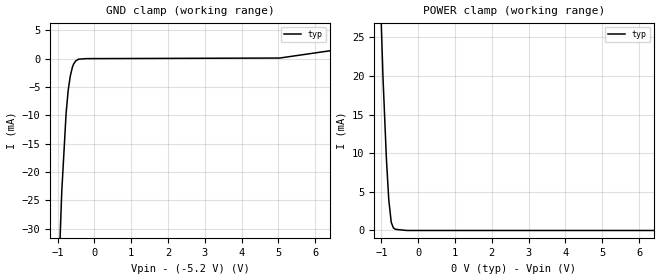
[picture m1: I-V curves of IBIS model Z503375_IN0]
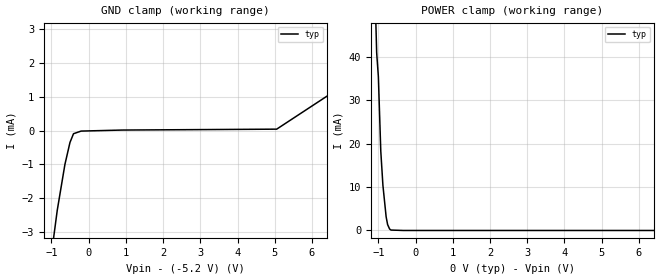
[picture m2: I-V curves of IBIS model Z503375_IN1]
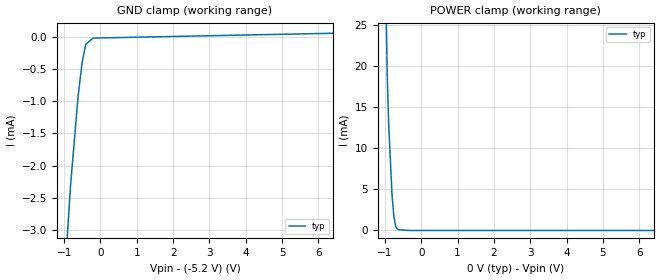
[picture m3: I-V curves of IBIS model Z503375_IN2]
| YOU ARE ONLY AUTHORIZED TO USE THIS SOFTWARE
| ACCORDING TO LICENSOR'S LICENSE RESTRICTIONS.
[IBIS Ver] 3.1
[File Name] mc100e445fn.ibs
[File Rev] 2.0
[Source] Measured and created by ICX Technology
[Date] Friday 7/14/00 9:07:47 AM
[Copyright]
| (C) COPYRIGHT 1993-2000
| MENTOR GRAPHICS CORPORATION
| ICX STANDARD LIBRARY, ICX PROJECT MODELING,
| ICX CUSTOM MODELING, ICX VENDOR MODEL
| ALL RIGHTS RESERVED.
| THE FOLLOWING ARE TRADEMARKS OR SERVICE MARKS OF
| MENTOR GRAPHICS CORPORATION:ICX (R), ICX STANDARD
| LIBRARY(R), ICX PROJECT MODELING(R), ICX CUSTOM
| MODELING(R), qualityIBIS(TM), MODELVIEWER(TM),
| AND MODELEDITOR(TM)
| ALL COPIES OF SOFTWARE, INCLUDING BUT NOT LIMITED TO
| ANY MODIFICATIONS, ENHANCEMENTS OR DERIVATIVE WORKS,
| MUST CONTAIN ALL MENTOR GRAPHICS CORPORATION'S
| NOTICES AND LEGENDS, INCLUDING THOSE EMBEDDED IN
| SOFTWARE AND THOSE AFFIXED TO SOFTWARE MEDIUM
| AND CONTAINER, AS RECEIVED FROM MENTOR GRAPHICS
| CORPORATION.
|  ZAP Model Builder 2.7
[Component] MC100E445FN
[Manufacturer] OnSemiconductor
[Package]
| variable   typ   min   max
R_pkg  .083ohms NA NA
L_pkg  4.299nH NA NA
C_pkg  1.045pF NA NA
[Pin] signal_name  model_name  R_pin  L_pin C_pin
1 VEE POWER .08 3.94n .925p
2 CLK Z503375_IN0 .082 4.14n .995p
3 _CLK Z503375_IN0 .084 4.354n 1.065p
4 VBB POWER .086 4.583n 1.135p
5 _CL/8 Z503375_OUT0 .086 4.583n 1.135p
6 CL/8 Z503375_OUT0 .084 4.354n 1.065p
7 VCCO POWER .082 4.14n .995p
8 CL/4 Z503375_OUT1 .08 3.94n .925p
9 _CL/4 Z503375_OUT1 .082 4.14n .995p
10 VCCO POWER .084 4.354n 1.065p
11 Q3 Z503375_OUT2 .086 4.583n 1.135p
12 Q2 Z503375_OUT2 .086 4.583n 1.135p
13 VCCO POWER .084 4.354n 1.065p
14 Q1 Z503375_OUT2 .082 4.14n .995p
15 Q0 Z503375_OUT2 .08 3.94n .925p
16 VCC POWER .082 4.14n .995p
17 _SOUT Z503375_OUT3 .084 4.354n 1.065p
18 SOUT Z503375_OUT3 .086 4.583n 1.135p
19 VCCO POWER .086 4.583n 1.135p
20 NC NC .084 4.354n 1.065p
21 MODE Z503375_IN1 .082 4.14n .995p
22 RESET Z503375_IN2 .08 3.94n .925p
23 SYNC Z503375_IN3 .082 4.14n .995p
24 _SINA Z503375_IN4 .084 4.354n 1.065p
25 SINA Z503375_IN4 .086 4.583n 1.135p
26 SINB Z503375_IN4 .086 4.583n 1.135p
27 _SINB Z503375_IN4 .084 4.354n 1.065p
28 SEL Z503375_IN5 .082 4.14n .995p
| Models and submodels in the file (10): Z503375_IN0 (Input_ECL), Z503375_IN1 (Input_ECL), Z503375_IN2 (Input_ECL), Z503375_IN3 (Input_ECL), Z503375_IN4 (Input_ECL), Z503375_IN5 (Input_ECL), Z503375_OUT0 (Output_ECL), Z503375_OUT1 (Output_ECL), Z503375_OUT2 (Output_ECL), Z503375_OUT3 (Output_ECL)
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| (C) COPYRIGHT 1993-2000
| MENTOR GRAPHICS CORPORATION
| ICX STANDARD LIBRARY, ICX PROJECT MODELING,
| ICX CUSTOM MODELING, ICX VENDOR MODEL
| ALL RIGHTS RESERVED.
| THE FOLLOWING ARE TRADEMARKS OR SERVICE MARKS OF
| MENTOR GRAPHICS CORPORATION:ICX (R), ICX STANDARD
| LIBRARY(R), ICX PROJECT MODELING(R), ICX CUSTOM
| MODELING(R), qualityIBIS(TM), MODELVIEWER(TM),
| AND MODELEDITOR(TM)
| ALL COPIES OF SOFTWARE, INCLUDING BUT NOT LIMITED TO
| ANY MODIFICATIONS, ENHANCEMENTS OR DERIVATIVE WORKS,
| MUST CONTAIN ALL MENTOR GRAPHICS CORPORATION'S
| NOTICES AND LEGENDS, INCLUDING THOSE EMBEDDED IN
| SOFTWARE AND THOSE AFFIXED TO SOFTWARE MEDIUM
| AND CONTAINER, AS RECEIVED FROM MENTOR GRAPHICS
| CORPORATION.
| Model Application Version 1.89 2/18/99.
[Model] Z503375_IN0
Model_type Input_ECL
Vinl = -1.475V
Vinh = -1.165V
C_comp 4.000pF NA NA
| variable typ   min   max
[Voltage Range] -5.200V NA NA
[GND Clamp Reference] -5.200V NA NA
[POWER Clamp Reference] 0.000V NA NA
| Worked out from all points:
|   GND clamp passes 1 mA (typ) near -0.57 V on its own axis
|   POWER clamp passes 1 mA (typ) near -0.73 V on its own axis
[GND Clamp]
-5.2V     -799.6mA   NA         NA
-888mV    -23.46mA   NA         NA
-770mV    -9.66mA    NA         NA
-713mV    -5.587mA   NA         NA
-656mV    -3.084mA   NA         NA
-596mV    -1.458mA   NA         NA
-561mV    -912uA     NA         NA
-503mV    -392uA     NA         NA
-426mV    -112uA     NA         NA
-213mV    -18.48uA   NA         NA
5.031V    81.29uA    NA         NA
10.4V     5.112mA    NA         NA
[POWER Clamp]
-5.2V     1.315A     NA         NA
-1.17V    61.74mA    NA         NA
-1.044V   32.91mA    NA         NA
-957mV    19.9mA     NA         NA
-864.3mV  9.33mA     NA         NA
-799.1mV  3.955mA    NA         NA
-731.9mV  1.05mA     NA         NA
-674.6mV  338uA      NA         NA
-620.2mV  151.4uA    NA         NA
-310.1mV  0A         NA         NA
10.4V     0A         NA         NA
| (C) COPYRIGHT 1993-2000
| MENTOR GRAPHICS CORPORATION
| ICX STANDARD LIBRARY, ICX PROJECT MODELING,
| ICX CUSTOM MODELING, ICX VENDOR MODEL
| ALL RIGHTS RESERVED.
| THE FOLLOWING ARE TRADEMARKS OR SERVICE MARKS OF
| MENTOR GRAPHICS CORPORATION:ICX (R), ICX STANDARD
| LIBRARY(R), ICX PROJECT MODELING(R), ICX CUSTOM
| MODELING(R), qualityIBIS(TM), MODELVIEWER(TM),
| AND MODELEDITOR(TM)
| ALL COPIES OF SOFTWARE, INCLUDING BUT NOT LIMITED TO
| ANY MODIFICATIONS, ENHANCEMENTS OR DERIVATIVE WORKS,
| MUST CONTAIN ALL MENTOR GRAPHICS CORPORATION'S
| NOTICES AND LEGENDS, INCLUDING THOSE EMBEDDED IN
| SOFTWARE AND THOSE AFFIXED TO SOFTWARE MEDIUM
| AND CONTAINER, AS RECEIVED FROM MENTOR GRAPHICS
| CORPORATION.
| Model Application Version 1.89 2/18/99.
[Model] Z503375_IN1
Model_type Input_ECL
Vinl = -1.475V
Vinh = -1.165V
C_comp 4.000pF NA NA
| variable typ   min   max
[Voltage Range] -5.200V NA NA
[GND Clamp Reference] -5.200V NA NA
[POWER Clamp Reference] 0.000V NA NA
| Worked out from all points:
|   GND clamp passes 1 mA (typ) near -0.64 V on its own axis
|   POWER clamp passes 1 mA (typ) near -0.73 V on its own axis
[GND Clamp]
-5.2V     -90.6mA    NA         NA
-1.063V   -4.163mA   NA         NA
-845mV    -2.354mA   NA         NA
-639mV    -1.001mA   NA         NA
-503mV    -352.5uA   NA         NA
-408mV    -94.15uA   NA         NA
-204mV    -16.45uA   NA         NA
904mV     14.01uA    NA         NA
5.051V    40.37uA    NA         NA
10.4V     3.891mA    NA         NA
[POWER Clamp]
-5.2V     2.302A     NA         NA
-1.093V   56.03mA    NA         NA
-1.045V   40.95mA    NA         NA
-999.3mV  35.44mA    NA         NA
-934.4mV  18.27mA    NA         NA
-877.1mV  10.39mA    NA         NA
-790.7mV  3.151mA    NA         NA
-751.2mV  1.363mA    NA         NA
-698.1mV  350.5uA    NA         NA
-661.2mV  98.13uA    NA         NA
-330.6mV  0A         NA         NA
10.4V     0A         NA         NA
| (C) COPYRIGHT 1993-2000
| MENTOR GRAPHICS CORPORATION
| ICX STANDARD LIBRARY, ICX PROJECT MODELING,
| ICX CUSTOM MODELING, ICX VENDOR MODEL
| ALL RIGHTS RESERVED.
| THE FOLLOWING ARE TRADEMARKS OR SERVICE MARKS OF
| MENTOR GRAPHICS CORPORATION:ICX (R), ICX STANDARD
| LIBRARY(R), ICX PROJECT MODELING(R), ICX CUSTOM
| MODELING(R), qualityIBIS(TM), MODELVIEWER(TM),
| AND MODELEDITOR(TM)
| ALL COPIES OF SOFTWARE, INCLUDING BUT NOT LIMITED TO
| ANY MODIFICATIONS, ENHANCEMENTS OR DERIVATIVE WORKS,
| MUST CONTAIN ALL MENTOR GRAPHICS CORPORATION'S
| NOTICES AND LEGENDS, INCLUDING THOSE EMBEDDED IN
| SOFTWARE AND THOSE AFFIXED TO SOFTWARE MEDIUM
| AND CONTAINER, AS RECEIVED FROM MENTOR GRAPHICS
| CORPORATION.
| Model Application Version 1.89 2/18/99.
[Model] Z503375_IN2
Model_type Input_ECL
Vinl = -1.475V
Vinh = -1.165V
C_comp 4.000pF NA NA
| variable typ   min   max
[Voltage Range] -5.200V NA NA
[GND Clamp Reference] -5.200V NA NA
[POWER Clamp Reference] 0.000V NA NA
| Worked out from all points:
|   GND clamp passes 1 mA (typ) near -0.63 V on its own axis
|   POWER clamp passes 1 mA (typ) near -0.73 V on its own axis
[GND Clamp]
-5.2V     -121.2mA   NA         NA
-1.006V   -3.914mA   NA         NA
-825mV    -2.32mA    NA         NA
-620mV    -937.9uA   NA         NA
-503mV    -382.6uA   NA         NA
-407mV    -112.4uA   NA         NA
-203.5mV  -14.64uA   NA         NA
10.4V     106.2uA    NA         NA
[POWER Clamp]
-5.2V     1.407A     NA         NA
-1.061V   52.04mA    NA         NA
-937.5mV  18.75mA    NA         NA
-898.2mV  12.99mA    NA         NA
-805.2mV  4.266mA    NA         NA
-753mV    1.605mA    NA         NA
-703.1mV  468.8uA    NA         NA
-646.7mV  103.3uA    NA         NA
-323.4mV  0A         NA         NA
10.4V     0A         NA         NA
